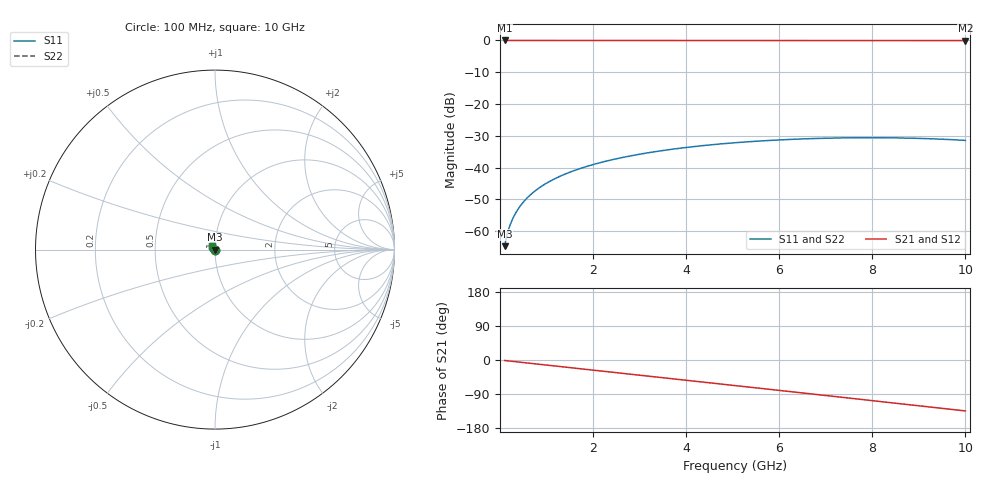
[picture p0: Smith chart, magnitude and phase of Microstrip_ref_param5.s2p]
! Sonnet Data File
! From: em Version : 18.58
! From Project: Microstrip_ref
! Data is De-embedded
! Data File Written: 05/20/2025 14:19:08
!< HDATE 12/30/2024 21:26:45
!< MDATE 12/30/2024 21:26:45
!< PARAMS
!< w = 250.0
!< END PARAMS
# GHZ S MA R 50.00000
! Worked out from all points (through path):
!   397 points, 100 MHz to 10 GHz, reference 50 ohm
!   highest |S21| = 0.00 dB at 100 MHz (marker M1); lowest = 0.0 dB at 10 GHz (marker M2)
!   group delay of S21, straight-line fit = 37.3 ps
!   lowest |S11| = -64.7 dB at 100 MHz (marker M3), VSWR 1.00, Z = 50 - j0.0567 ohm
!   |S11| at or under -10 dB: start of sweep to end of sweep
!   |S22| runs from -64.7 to -30.6 dB; largest |S21 - S12| = 1.4e-12
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0.1  0.0005829 -103.2  0.9999 -1.3  0.9999 -1.3  0.0005829 -103.2
0.125  0.0007244 -102.1  0.9999 -1.7  0.9999 -1.7  0.0007246 -102.1
0.175  0.001008 -101.1  0.9998 -2.3  0.9998 -2.3  0.001009 -101.1
0.225  0.001293 -100.8  0.9998 -3.0  0.9998 -3.0  0.001294 -100.8
0.275  0.001578 -100.9  0.9998 -3.7  0.9998 -3.7  0.001579 -100.9
0.325  0.001863 -101.1  0.9998 -4.3  0.9998 -4.3  0.001864 -101.1
0.4  0.002291 -101.7  0.9997 -5.3  0.9997 -5.3  0.002292 -101.7
0.575  0.003288 -103.4  0.9997 -7.7  0.9997 -7.7  0.003289 -103.5
0.8  0.004567 -106.1  0.9996 -10.7  0.9996 -10.7  0.004567 -106.1
1.05  0.005977 -109.2  0.9994 -14.0  0.9994 -14.0  0.005977 -109.2
1.375  0.007789 -113.4  0.9993 -18.3  0.9993 -18.3  0.007789 -113.4
1.75  0.00984 -118.2  0.9991 -23.3  0.9991 -23.3  0.009841 -118.2
2.5  0.01379 -128.0  0.9987 -33.3  0.9987 -33.3  0.01378 -128.0
3.4  0.01815 -139.9  0.9982 -45.3  0.9982 -45.3  0.01815 -139.9
4.25  0.02178 -151.1  0.9978 -56.7  0.9978 -56.7  0.02178 -151.1
5.05  0.02466 -161.7  0.9974 -67.4  0.9974 -67.4  0.02466 -161.7
5.875  0.027 -172.6  0.9969 -78.5  0.9969 -78.5  0.02701 -172.6
6.7  0.02864 176.5  0.9965 -89.6  0.9965 -89.6  0.02864 176.5
7.525  0.02948 165.5  0.9961 -100.8  0.9961 -100.8  0.02948 165.5
8.35  0.02948 154.6  0.9958 -111.9  0.9958 -111.9  0.02948 154.6
9.15  0.02864 144.0  0.9954 -122.8  0.9954 -122.8  0.02864 144.0
10  0.02684 132.8  0.9951 -134.4  0.9951 -134.4  0.02684 132.8
